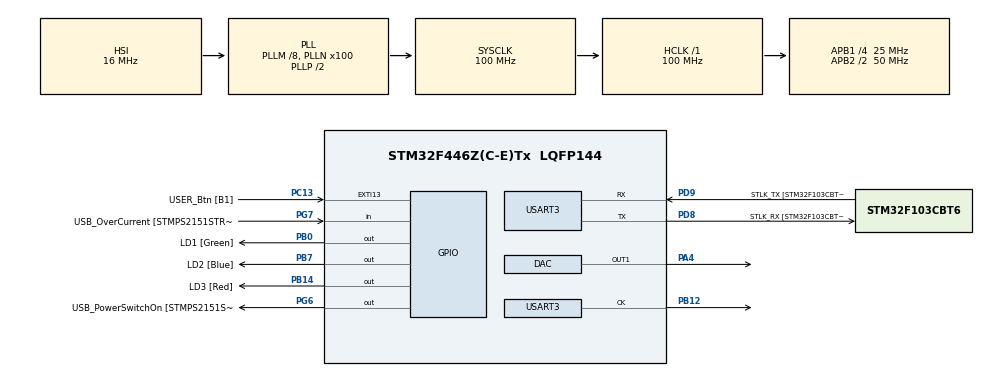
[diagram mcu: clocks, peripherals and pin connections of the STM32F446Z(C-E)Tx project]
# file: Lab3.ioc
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Mcu.Family=STM32F4
Mcu.Name=STM32F446Z(C-E)Tx
Mcu.Package=LQFP144
NVIC.EXTI15_10_IRQn=true\:0\:0\:false\:false\:true\:true\:true\:true
NVIC.PriorityGroup=NVIC_PRIORITYGROUP_4
PA10.GPIO_Label=USB_ID
PA10.Signal=USB_OTG_FS_ID
PA11.GPIO_Label=USB_DM
PA11.Signal=USB_OTG_FS_DM
PA12.GPIO_Label=USB_DP
PA12.Signal=USB_OTG_FS_DP
PA13.GPIO_Label=TMS
PA13.Signal=SYS_JTMS-SWDIO
PA14.GPIO_Label=TCK
PA14.Signal=SYS_JTCK-SWCLK
PA4.Signal=COMP_DAC1_group
PA8.GPIO_Label=USB_SOF [TP1]
PA8.Signal=USB_OTG_FS_SOF
PA9.GPIO_Label=USB_VBUS
PA9.Signal=USB_OTG_FS_VBUS
PB0.GPIO_Label=LD1 [Green]
PB0.Signal=GPIO_Output
PB12.Mode=Synchronous
PB12.Signal=USART3_CK
PB14.GPIO_Label=LD3 [Red]
PB14.Signal=GPIO_Output
PB7.GPIO_Label=LD2 [Blue]
PB7.Signal=GPIO_Output
PC13.GPIO_Label=USER_Btn [B1]
PC13.Signal=GPXTI13
PC14-OSC32_IN.Signal=RCC_OSC32_IN
PC15-OSC32_OUT.Signal=RCC_OSC32_OUT
PD8.GPIO_Label=STLK_RX [STM32F103CBT6_PA3]
PD8.Mode=Synchronous
PD8.Signal=USART3_TX
PD9.GPIO_Label=STLK_TX [STM32F103CBT6_PA2]
PD9.Mode=Synchronous
PD9.Signal=USART3_RX
PG6.GPIO_Label=USB_PowerSwitchOn [STMPS2151STR_EN]
PG6.Signal=GPIO_Output
PG7.GPIO_Label=USB_OverCurrent [STMPS2151STR_FAULT]
PG7.Signal=GPIO_Input
PH0-OSC_IN.GPIO_Label=MCO [STM32F103CBT6_PA8]
PH0-OSC_IN.Signal=RCC_OSC_IN
PH1-OSC_OUT.Signal=RCC_OSC_OUT
ProjectManager.HeapSize=0x200
ProjectManager.StackSize=0x400
ProjectManager.TargetToolchain=STM32CubeIDE
RCC.48MHZClocksFreq_Value=24000000
RCC.AHBFreq_Value=100000000
RCC.APB1CLKDivider=RCC_HCLK_DIV4
RCC.APB1Freq_Value=25000000
RCC.APB1TimFreq_Value=50000000
RCC.APB2CLKDivider=RCC_HCLK_DIV2
RCC.APB2Freq_Value=50000000
RCC.APB2TimFreq_Value=100000000
RCC.CortexFreq_Value=100000000
RCC.HCLKFreq_Value=100000000
RCC.HSE_VALUE=8000000
RCC.HSI_VALUE=16000000
RCC.LSE_VALUE=32768
RCC.PLLM=8
RCC.PLLMUL=RCC_PLL_MUL9
RCC.PLLN=100
RCC.PRESCALERUSB=RCC_USBCLKSOURCE_PLL_DIV1_5
RCC.SYSCLKFreq_VALUE=100000000
RCC.SYSCLKSource=RCC_SYSCLKSOURCE_PLLCLK
RCC.SYSCLKSourceVirtual=RCC_SYSCLKSOURCE_PLLCLK
RCC.USBFreq_Value=100000000
RCC.VCOOutputFreq_Value=200000000
SH.COMP_DAC1_group.0=DAC_OUT1,DAC_OUT1
USART3.VirtualMode=VM_SYNC
VP_TIM6_VS_ClockSourceINT.Mode=Enable_Timer
board=NUCLEO-F446ZE

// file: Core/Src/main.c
/* USER CODE BEGIN Header */
/**
  ******************************************************************************
  * @file           : main.c
  * @brief          : Main program body
  ******************************************************************************
  * @attention
  *
  * Copyright (c) 2026 STMicroelectronics.
  * All rights reserved.
  *
  * This software is licensed under terms that can be found in the LICENSE file
  * in the root directory of this software component.
  * If no LICENSE file comes with this software, it is provided AS-IS.
  *
  ******************************************************************************
  */
/* USER CODE END Header */
#include "main.h"

/* USER CODE BEGIN Includes */
#include <stdio.h>
#include <math.h>
#include "fixedpt.h"
#include <string.h>
/* USER CODE END Includes */

DAC_HandleTypeDef hdac;

TIM_HandleTypeDef htim6;

USART_HandleTypeDef husart3;

/* USER CODE BEGIN PV */
int button_value = 1000;
/* USER CODE END PV */

void SystemClock_Config(void);
static void MX_GPIO_Init(void);
static void MX_DAC_Init(void);
static void MX_TIM6_Init(void);
static void MX_USART3_Init(void);

/* USER CODE BEGIN 0 */
void print_msg(char * msg) {
  HAL_USART_Transmit(&husart3, (uint8_t *)msg, strlen(msg), 100);
}
/* USER CODE END 0 */

int main(void)
{

  /* MCU Configuration--------------------------------------------------------*/

  /* Reset of all peripherals, Initializes the Flash interface and the Systick. */
  HAL_Init();

  /* Configure the system clock */
  SystemClock_Config();

  /* Initialize all configured peripherals */
  MX_GPIO_Init();
  MX_DAC_Init();
  MX_TIM6_Init();
  MX_USART3_Init();
  /* USER CODE BEGIN 2 */
  	uint32_t sum = 0, max_i = 100;
	uint16_t start_time, end_time;

	char uart_buf[50];
	int uart_buf_len;

	for (volatile int i=0; i<10; i++){
			sum += i;
	}

	volatile double a=12.2f, b=3.4f, c;

	HAL_TIM_Base_Start(&htim6);
	start_time = __HAL_TIM_GET_COUNTER(&htim6);
	c = a + b;
	end_time = __HAL_TIM_GET_COUNTER(&htim6);
	uart_buf_len = sprintf(uart_buf, "Add: %d cycles\r\n", (end_time-start_time));
	HAL_USART_Transmit(&husart3, (uint8_t *)uart_buf, uart_buf_len, 100);

	HAL_TIM_Base_Start(&htim6);
	start_time = __HAL_TIM_GET_COUNTER(&htim6);
	c = a - b;
	end_time = __HAL_TIM_GET_COUNTER(&htim6);
	uart_buf_len = sprintf(uart_buf, "Sub: %d cycles\r\n", (end_time-start_time));
	HAL_USART_Transmit(&husart3, (uint8_t *)uart_buf, uart_buf_len, 100);

	HAL_TIM_Base_Start(&htim6);
	start_time = __HAL_TIM_GET_COUNTER(&htim6);
	c = a * b;
	end_time = __HAL_TIM_GET_COUNTER(&htim6);
	uart_buf_len = sprintf(uart_buf, "Mul: %d cycles\r\n", (end_time-start_time));
	HAL_USART_Transmit(&husart3, (uint8_t *)uart_buf, uart_buf_len, 100);

	HAL_TIM_Base_Start(&htim6);
	start_time = __HAL_TIM_GET_COUNTER(&htim6);
	c = a / b;
	end_time = __HAL_TIM_GET_COUNTER(&htim6);
	uart_buf_len = sprintf(uart_buf, "Div: %d cycles\r\n", (end_time-start_time));
	HAL_USART_Transmit(&husart3, (uint8_t *)uart_buf, uart_buf_len, 100);
  /* USER CODE END 2 */
//
//	HAL_TIM_Base_Start(&htim6);
//
//	// --- Test 1: Sum 0 to 99 ---
//	sum = 0;
//	start_time = __HAL_TIM_GET_COUNTER(&htim6);
//	for (volatile int i = 0; i < 100; i++) {
//	    sum += i;
//	}
//	end_time = __HAL_TIM_GET_COUNTER(&htim6);
//
//	// Using the existing uart_buf (50 bytes is enough for this)
//	uart_buf_len = sprintf(uart_buf, "Loop 100: %u cycles\r\n", (uint16_t)(end_time - start_time));
//	HAL_USART_Transmit(&husart3, (uint8_t *)uart_buf, uart_buf_len, 100);
//
//	// --- Test 2: Sum 0 to 999 ---
//	sum = 0;
//	start_time = __HAL_TIM_GET_COUNTER(&htim6);
//	for (volatile int i = 0; i < 1000; i++) {
//	    sum += i;
//	}
//	end_time = __HAL_TIM_GET_COUNTER(&htim6);
//
//	uart_buf_len = sprintf(uart_buf, "Loop 1000: %u cycles\r\n", (uint16_t)(end_time - start_time));
//	HAL_USART_Transmit(&husart3, (uint8_t *)uart_buf, uart_buf_len, 100);
  /* Infinite loop */
  /* USER CODE BEGIN WHILE */
  while (1)
  {
	HAL_GPIO_TogglePin(LD2_GPIO_Port, LD2_Pin);
	HAL_Delay(500);
    /* USER CODE END WHILE */

  }
}

void SystemClock_Config(void)
{
  RCC_OscInitTypeDef RCC_OscInitStruct = {0};
  RCC_ClkInitTypeDef RCC_ClkInitStruct = {0};

  /** Configure the main internal regulator output voltage
  */
  __HAL_RCC_PWR_CLK_ENABLE();
  __HAL_PWR_VOLTAGESCALING_CONFIG(PWR_REGULATOR_VOLTAGE_SCALE3);

  /** Initializes the RCC Oscillators according to the specified parameters
  * in the RCC_OscInitTypeDef structure.
  */
  RCC_OscInitStruct.OscillatorType = RCC_OSCILLATORTYPE_HSI;
  RCC_OscInitStruct.HSIState = RCC_HSI_ON;
  RCC_OscInitStruct.HSICalibrationValue = RCC_HSICALIBRATION_DEFAULT;
  RCC_OscInitStruct.PLL.PLLState = RCC_PLL_ON;
  RCC_OscInitStruct.PLL.PLLSource = RCC_PLLSOURCE_HSI;
  RCC_OscInitStruct.PLL.PLLM = 8;
  RCC_OscInitStruct.PLL.PLLN = 100;
  RCC_OscInitStruct.PLL.PLLP = RCC_PLLP_DIV2;
  RCC_OscInitStruct.PLL.PLLQ = 2;
  RCC_OscInitStruct.PLL.PLLR = 2;
  if (HAL_RCC_OscConfig(&RCC_OscInitStruct) != HAL_OK)
  {
    Error_Handler();
  }

  /** Initializes the CPU, AHB and APB buses clocks
  */
  RCC_ClkInitStruct.ClockType = RCC_CLOCKTYPE_HCLK|RCC_CLOCKTYPE_SYSCLK
                              |RCC_CLOCKTYPE_PCLK1|RCC_CLOCKTYPE_PCLK2;
  RCC_ClkInitStruct.SYSCLKSource = RCC_SYSCLKSOURCE_PLLCLK;
  RCC_ClkInitStruct.AHBCLKDivider = RCC_SYSCLK_DIV1;
  RCC_ClkInitStruct.APB1CLKDivider = RCC_HCLK_DIV4;
  RCC_ClkInitStruct.APB2CLKDivider = RCC_HCLK_DIV2;

  if (HAL_RCC_ClockConfig(&RCC_ClkInitStruct, FLASH_LATENCY_3) != HAL_OK)
  {
    Error_Handler();
  }
}

static void MX_DAC_Init(void)
{

  DAC_ChannelConfTypeDef sConfig = {0};

  /** DAC Initialization
  */
  hdac.Instance = DAC;
  if (HAL_DAC_Init(&hdac) != HAL_OK)
  {
    Error_Handler();
  }

  /** DAC channel OUT1 config
  */
  sConfig.DAC_Trigger = DAC_TRIGGER_NONE;
  sConfig.DAC_OutputBuffer = DAC_OUTPUTBUFFER_ENABLE;
  if (HAL_DAC_ConfigChannel(&hdac, &sConfig, DAC_CHANNEL_1) != HAL_OK)
  {
    Error_Handler();
  }

}

static void MX_TIM6_Init(void)
{

  TIM_MasterConfigTypeDef sMasterConfig = {0};

  htim6.Instance = TIM6;
  htim6.Init.Prescaler = 0;
  htim6.Init.CounterMode = TIM_COUNTERMODE_UP;
  htim6.Init.Period = 65535;
  htim6.Init.AutoReloadPreload = TIM_AUTORELOAD_PRELOAD_DISABLE;
  if (HAL_TIM_Base_Init(&htim6) != HAL_OK)
  {
    Error_Handler();
  }
  sMasterConfig.MasterOutputTrigger = TIM_TRGO_RESET;
  sMasterConfig.MasterSlaveMode = TIM_MASTERSLAVEMODE_DISABLE;
  if (HAL_TIMEx_MasterConfigSynchronization(&htim6, &sMasterConfig) != HAL_OK)
  {
    Error_Handler();
  }

}

static void MX_USART3_Init(void)
{

  husart3.Instance = USART3;
  husart3.Init.BaudRate = 115200;
  husart3.Init.WordLength = USART_WORDLENGTH_8B;
  husart3.Init.StopBits = USART_STOPBITS_1;
  husart3.Init.Parity = USART_PARITY_NONE;
  husart3.Init.Mode = USART_MODE_TX_RX;
  husart3.Init.CLKPolarity = USART_POLARITY_LOW;
  husart3.Init.CLKPhase = USART_PHASE_1EDGE;
  husart3.Init.CLKLastBit = USART_LASTBIT_DISABLE;
  if (HAL_USART_Init(&husart3) != HAL_OK)
  {
    Error_Handler();
  }

}

static void MX_GPIO_Init(void)
{
  GPIO_InitTypeDef GPIO_InitStruct = {0};

  /* GPIO Ports Clock Enable */
  __HAL_RCC_GPIOC_CLK_ENABLE();
  __HAL_RCC_GPIOH_CLK_ENABLE();
  __HAL_RCC_GPIOA_CLK_ENABLE();
  __HAL_RCC_GPIOB_CLK_ENABLE();
  __HAL_RCC_GPIOD_CLK_ENABLE();
  __HAL_RCC_GPIOG_CLK_ENABLE();

  /*Configure GPIO pin Output Level */
  HAL_GPIO_WritePin(GPIOB, LD1_Pin|LD3_Pin|LD2_Pin, GPIO_PIN_RESET);

  /*Configure GPIO pin Output Level */
  HAL_GPIO_WritePin(USB_PowerSwitchOn_GPIO_Port, USB_PowerSwitchOn_Pin, GPIO_PIN_RESET);

  /*Configure GPIO pin : USER_Btn_Pin */
  GPIO_InitStruct.Pin = USER_Btn_Pin;
  GPIO_InitStruct.Mode = GPIO_MODE_IT_RISING;
  GPIO_InitStruct.Pull = GPIO_NOPULL;
  HAL_GPIO_Init(USER_Btn_GPIO_Port, &GPIO_InitStruct);

  /*Configure GPIO pins : LD1_Pin LD3_Pin LD2_Pin */
  GPIO_InitStruct.Pin = LD1_Pin|LD3_Pin|LD2_Pin;
  GPIO_InitStruct.Mode = GPIO_MODE_OUTPUT_PP;
  GPIO_InitStruct.Pull = GPIO_NOPULL;
  GPIO_InitStruct.Speed = GPIO_SPEED_FREQ_LOW;
  HAL_GPIO_Init(GPIOB, &GPIO_InitStruct);

  /*Configure GPIO pin : USB_PowerSwitchOn_Pin */
  GPIO_InitStruct.Pin = USB_PowerSwitchOn_Pin;
  GPIO_InitStruct.Mode = GPIO_MODE_OUTPUT_PP;
  GPIO_InitStruct.Pull = GPIO_NOPULL;
  GPIO_InitStruct.Speed = GPIO_SPEED_FREQ_LOW;
  HAL_GPIO_Init(USB_PowerSwitchOn_GPIO_Port, &GPIO_InitStruct);

  /*Configure GPIO pin : USB_OverCurrent_Pin */
  GPIO_InitStruct.Pin = USB_OverCurrent_Pin;
  GPIO_InitStruct.Mode = GPIO_MODE_INPUT;
  GPIO_InitStruct.Pull = GPIO_NOPULL;
  HAL_GPIO_Init(USB_OverCurrent_GPIO_Port, &GPIO_InitStruct);

  /*Configure GPIO pins : USB_SOF_Pin USB_ID_Pin USB_DM_Pin USB_DP_Pin */
  GPIO_InitStruct.Pin = USB_SOF_Pin|USB_ID_Pin|USB_DM_Pin|USB_DP_Pin;
  GPIO_InitStruct.Mode = GPIO_MODE_AF_PP;
  GPIO_InitStruct.Pull = GPIO_NOPULL;
  GPIO_InitStruct.Speed = GPIO_SPEED_FREQ_VERY_HIGH;
  GPIO_InitStruct.Alternate = GPIO_AF10_OTG_FS;
  HAL_GPIO_Init(GPIOA, &GPIO_InitStruct);

  /*Configure GPIO pin : USB_VBUS_Pin */
  GPIO_InitStruct.Pin = USB_VBUS_Pin;
  GPIO_InitStruct.Mode = GPIO_MODE_INPUT;
  GPIO_InitStruct.Pull = GPIO_NOPULL;
  HAL_GPIO_Init(USB_VBUS_GPIO_Port, &GPIO_InitStruct);

  /* EXTI interrupt init*/
  HAL_NVIC_SetPriority(EXTI15_10_IRQn, 0, 0);
  HAL_NVIC_EnableIRQ(EXTI15_10_IRQn);

}

void Error_Handler(void)
{
  __disable_irq();
  while (1)
  {
  }
}
